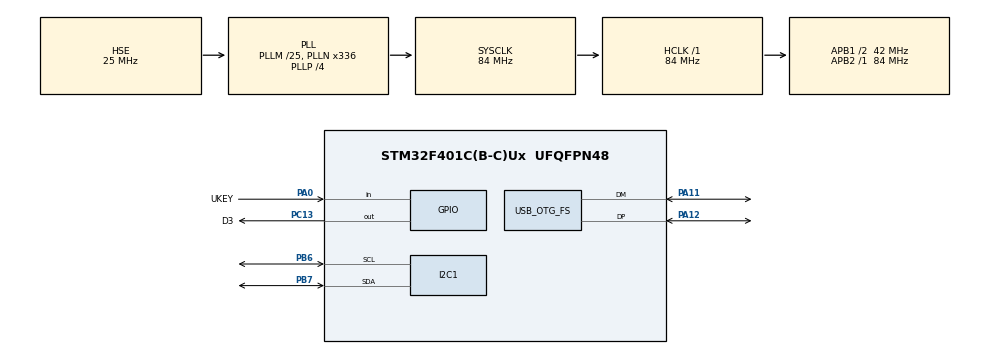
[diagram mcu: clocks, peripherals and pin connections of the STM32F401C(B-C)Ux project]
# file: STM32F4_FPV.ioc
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I2C1.I2C_Mode=I2C_Fast
Mcu.Family=STM32F4
Mcu.Name=STM32F401C(B-C)Ux
Mcu.Package=UFQFPN48
NVIC.I2C1_ER_IRQn=true\:0\:0\:false\:false\:true\:true\:true\:true
NVIC.I2C1_EV_IRQn=true\:0\:0\:false\:false\:true\:true\:true\:true
NVIC.OTG_FS_IRQn=true\:0\:0\:false\:false\:true\:true\:true\:true
NVIC.PriorityGroup=NVIC_PRIORITYGROUP_4
NVIC.TIM1_UP_TIM10_IRQn=true\:0\:0\:false\:false\:true\:true\:true\:true
PA0-WKUP.GPIO_Label=UKEY
PA0-WKUP.Signal=GPIO_Input
PA11.Mode=Device_Only
PA11.Signal=USB_OTG_FS_DM
PA12.Mode=Device_Only
PA12.Signal=USB_OTG_FS_DP
PA13.Mode=Serial_Wire
PA13.Signal=SYS_JTMS-SWDIO
PA14.Mode=Serial_Wire
PA14.Signal=SYS_JTCK-SWCLK
PB6.Mode=I2C
PB6.Signal=I2C1_SCL
PB7.Mode=I2C
PB7.Signal=I2C1_SDA
PC13-ANTI_TAMP.GPIO_Label=D3
PC13-ANTI_TAMP.GPIO_ModeDefaultOutputPP=GPIO_MODE_OUTPUT_OD
PC13-ANTI_TAMP.GPIO_PuPd=GPIO_NOPULL
PC13-ANTI_TAMP.Signal=GPIO_Output
PC14-OSC32_IN.Mode=LSE-External-Oscillator
PC14-OSC32_IN.Signal=RCC_OSC32_IN
PC15-OSC32_OUT.Mode=LSE-External-Oscillator
PC15-OSC32_OUT.Signal=RCC_OSC32_OUT
PH0\ -\ OSC_IN.Mode=HSE-External-Oscillator
PH0\ -\ OSC_IN.Signal=RCC_OSC_IN
PH1\ -\ OSC_OUT.Mode=HSE-External-Oscillator
PH1\ -\ OSC_OUT.Signal=RCC_OSC_OUT
ProjectManager.HeapSize=0x200
ProjectManager.StackSize=0x400
ProjectManager.TargetToolchain=STM32CubeIDE
RCC.48MHZClocksFreq_Value=48000000
RCC.AHBFreq_Value=84000000
RCC.APB1CLKDivider=RCC_HCLK_DIV2
RCC.APB1Freq_Value=42000000
RCC.APB1TimFreq_Value=84000000
RCC.APB2Freq_Value=84000000
RCC.APB2TimFreq_Value=84000000
RCC.CortexFreq_Value=84000000
RCC.HCLKFreq_Value=84000000
RCC.HSE_VALUE=25000000
RCC.HSI_VALUE=16000000
RCC.PLLM=25
RCC.PLLN=336
RCC.PLLP=RCC_PLLP_DIV4
RCC.PLLQ=7
RCC.RCC_RTC_Clock_Source=RCC_RTCCLKSOURCE_LSE
RCC.RCC_RTC_Clock_SourceVirtual=RCC_RTCCLKSOURCE_LSE
RCC.SYSCLKFreq_VALUE=84000000
RCC.SYSCLKSource=RCC_SYSCLKSOURCE_PLLCLK
RCC.VCOOutputFreq_Value=336000000
TIM1.Period=30000
TIM1.Prescaler=1400-1
TIM1.TIM_MasterOutputTrigger=TIM_TRGO_UPDATE
TIM1.TIM_MasterSlaveMode=TIM_MASTERSLAVEMODE_ENABLE
USB_DEVICE.CLASS_NAME_FS=CDC
USB_DEVICE.VirtualMode=Cdc
USB_DEVICE.VirtualModeFS=Cdc_FS
USB_OTG_FS.VirtualMode=Device_Only
VP_RTC_VS_RTC_Activate.Mode=RTC_Enabled
VP_TIM1_VS_ClockSourceINT.Mode=Internal
VP_USB_DEVICE_VS_USB_DEVICE_CDC_FS.Mode=CDC_FS
board=custom

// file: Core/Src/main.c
/* USER CODE BEGIN Header */
/**
  ******************************************************************************
  * @file           : main.c
  * @brief          : Main program body
  ******************************************************************************
  * @attention
  *
  * Copyright (c) 2024 STMicroelectronics.
  * All rights reserved.
  *
  * This software is licensed under terms that can be found in the LICENSE file
  * in the root directory of this software component.
  * If no LICENSE file comes with this software, it is provided AS-IS.
  *
  ******************************************************************************
  */
/* USER CODE END Header */
#include "main.h"
#include "usb_device.h"

/* USER CODE BEGIN Includes */
#include "usbd_cdc_if.h"
#include "mpu6500.h"
#include "cli.h"
#include "process.h"
/* USER CODE END Includes */

I2C_HandleTypeDef hi2c1;

RTC_HandleTypeDef hrtc;

TIM_HandleTypeDef htim1;

/* USER CODE BEGIN PV */
uint8_t dataIsReadyForParsing = 0;
uint8_t * cliBuffer;
uint32_t cliLength;
FCstate fcState = STANDBY;
/* USER CODE END PV */

void SystemClock_Config(void);
static void MX_GPIO_Init(void);
static void MX_I2C1_Init(void);
static void MX_RTC_Init(void);
static void MX_TIM1_Init(void);

int main(void)
{

  /* MCU Configuration--------------------------------------------------------*/

  /* Reset of all peripherals, Initializes the Flash interface and the Systick. */
  HAL_Init();

  /* Configure the system clock */
  SystemClock_Config();

  /* Initialize all configured peripherals */
  MX_GPIO_Init();
  MX_I2C1_Init();
  MX_RTC_Init();
  MX_USB_DEVICE_Init();
  MX_TIM1_Init();
  /* USER CODE BEGIN 2 */
  uint8_t data;
  uint8_t status;
  data = mpu6500_getDeviceID();
  status = mpu6500_init();

  HAL_TIM_Base_Start_IT(&htim1);
  /* USER CODE END 2 */

  /* Infinite loop */
  /* USER CODE BEGIN WHILE */
  //uint8_t vcpBuf[256] = "Hello world\n\r";
  while (1)
  {
//	  status = mpu6500_readMem(MPU6500_ACCEL_XOUT_H, 16, memData);
//	  int16_t valx = (memData[0] << 8) + memData[1];
//	  int16_t valy = (memData[2] << 8) + memData[3];
//	  int16_t valz = (memData[4] << 8) + memData[5];
	  //HAL_Delay(500);
	  if(dataIsReadyForParsing)
	  {
		  dataIsReadyForParsing = 0;
		  CDC_Transmit_FS(cliBuffer, cliLength);
		  readForParse(cliBuffer, &cliLength);
	  }
	  process(fcState);

    /* USER CODE END WHILE */

  }
}

void SystemClock_Config(void)
{
  RCC_OscInitTypeDef RCC_OscInitStruct = {0};
  RCC_ClkInitTypeDef RCC_ClkInitStruct = {0};

  /** Configure the main internal regulator output voltage
  */
  __HAL_RCC_PWR_CLK_ENABLE();
  __HAL_PWR_VOLTAGESCALING_CONFIG(PWR_REGULATOR_VOLTAGE_SCALE2);

  /** Initializes the RCC Oscillators according to the specified parameters
  * in the RCC_OscInitTypeDef structure.
  */
  RCC_OscInitStruct.OscillatorType = RCC_OSCILLATORTYPE_HSE|RCC_OSCILLATORTYPE_LSE;
  RCC_OscInitStruct.HSEState = RCC_HSE_ON;
  RCC_OscInitStruct.LSEState = RCC_LSE_ON;
  RCC_OscInitStruct.PLL.PLLState = RCC_PLL_ON;
  RCC_OscInitStruct.PLL.PLLSource = RCC_PLLSOURCE_HSE;
  RCC_OscInitStruct.PLL.PLLM = 25;
  RCC_OscInitStruct.PLL.PLLN = 336;
  RCC_OscInitStruct.PLL.PLLP = RCC_PLLP_DIV4;
  RCC_OscInitStruct.PLL.PLLQ = 7;
  if (HAL_RCC_OscConfig(&RCC_OscInitStruct) != HAL_OK)
  {
    Error_Handler();
  }

  /** Initializes the CPU, AHB and APB buses clocks
  */
  RCC_ClkInitStruct.ClockType = RCC_CLOCKTYPE_HCLK|RCC_CLOCKTYPE_SYSCLK
                              |RCC_CLOCKTYPE_PCLK1|RCC_CLOCKTYPE_PCLK2;
  RCC_ClkInitStruct.SYSCLKSource = RCC_SYSCLKSOURCE_PLLCLK;
  RCC_ClkInitStruct.AHBCLKDivider = RCC_SYSCLK_DIV1;
  RCC_ClkInitStruct.APB1CLKDivider = RCC_HCLK_DIV2;
  RCC_ClkInitStruct.APB2CLKDivider = RCC_HCLK_DIV1;

  if (HAL_RCC_ClockConfig(&RCC_ClkInitStruct, FLASH_LATENCY_2) != HAL_OK)
  {
    Error_Handler();
  }
}

static void MX_I2C1_Init(void)
{

  hi2c1.Instance = I2C1;
  hi2c1.Init.ClockSpeed = 400000;
  hi2c1.Init.DutyCycle = I2C_DUTYCYCLE_2;
  hi2c1.Init.OwnAddress1 = 0;
  hi2c1.Init.AddressingMode = I2C_ADDRESSINGMODE_7BIT;
  hi2c1.Init.DualAddressMode = I2C_DUALADDRESS_DISABLE;
  hi2c1.Init.OwnAddress2 = 0;
  hi2c1.Init.GeneralCallMode = I2C_GENERALCALL_DISABLE;
  hi2c1.Init.NoStretchMode = I2C_NOSTRETCH_DISABLE;
  if (HAL_I2C_Init(&hi2c1) != HAL_OK)
  {
    Error_Handler();
  }

}

static void MX_RTC_Init(void)
{

  /** Initialize RTC Only
  */
  hrtc.Instance = RTC;
  hrtc.Init.HourFormat = RTC_HOURFORMAT_24;
  hrtc.Init.AsynchPrediv = 127;
  hrtc.Init.SynchPrediv = 255;
  hrtc.Init.OutPut = RTC_OUTPUT_DISABLE;
  hrtc.Init.OutPutPolarity = RTC_OUTPUT_POLARITY_HIGH;
  hrtc.Init.OutPutType = RTC_OUTPUT_TYPE_OPENDRAIN;
  if (HAL_RTC_Init(&hrtc) != HAL_OK)
  {
    Error_Handler();
  }

}

static void MX_TIM1_Init(void)
{

  TIM_ClockConfigTypeDef sClockSourceConfig = {0};
  TIM_MasterConfigTypeDef sMasterConfig = {0};

  htim1.Instance = TIM1;
  htim1.Init.Prescaler = 1400-1;
  htim1.Init.CounterMode = TIM_COUNTERMODE_UP;
  htim1.Init.Period = 30000;
  htim1.Init.ClockDivision = TIM_CLOCKDIVISION_DIV1;
  htim1.Init.RepetitionCounter = 0;
  htim1.Init.AutoReloadPreload = TIM_AUTORELOAD_PRELOAD_DISABLE;
  if (HAL_TIM_Base_Init(&htim1) != HAL_OK)
  {
    Error_Handler();
  }
  sClockSourceConfig.ClockSource = TIM_CLOCKSOURCE_INTERNAL;
  if (HAL_TIM_ConfigClockSource(&htim1, &sClockSourceConfig) != HAL_OK)
  {
    Error_Handler();
  }
  sMasterConfig.MasterOutputTrigger = TIM_TRGO_UPDATE;
  sMasterConfig.MasterSlaveMode = TIM_MASTERSLAVEMODE_ENABLE;
  if (HAL_TIMEx_MasterConfigSynchronization(&htim1, &sMasterConfig) != HAL_OK)
  {
    Error_Handler();
  }

}

static void MX_GPIO_Init(void)
{
  GPIO_InitTypeDef GPIO_InitStruct = {0};

  /* GPIO Ports Clock Enable */
  __HAL_RCC_GPIOC_CLK_ENABLE();
  __HAL_RCC_GPIOH_CLK_ENABLE();
  __HAL_RCC_GPIOA_CLK_ENABLE();
  __HAL_RCC_GPIOB_CLK_ENABLE();

  /*Configure GPIO pin Output Level */
  HAL_GPIO_WritePin(D3_GPIO_Port, D3_Pin, GPIO_PIN_RESET);

  /*Configure GPIO pin : D3_Pin */
  GPIO_InitStruct.Pin = D3_Pin;
  GPIO_InitStruct.Mode = GPIO_MODE_OUTPUT_OD;
  GPIO_InitStruct.Pull = GPIO_NOPULL;
  GPIO_InitStruct.Speed = GPIO_SPEED_FREQ_LOW;
  HAL_GPIO_Init(D3_GPIO_Port, &GPIO_InitStruct);

  /*Configure GPIO pin : UKEY_Pin */
  GPIO_InitStruct.Pin = UKEY_Pin;
  GPIO_InitStruct.Mode = GPIO_MODE_INPUT;
  GPIO_InitStruct.Pull = GPIO_NOPULL;
  HAL_GPIO_Init(UKEY_GPIO_Port, &GPIO_InitStruct);

}

/* USER CODE BEGIN 4 */
void HAL_TIM_PeriodElapsedCallback(TIM_HandleTypeDef *htim)
{
  // Check which version of the timer triggered this callback and toggle LED
  if (htim == &htim1)
  {
    HAL_GPIO_TogglePin(D3_GPIO_Port, D3_Pin);
  }
}
/* USER CODE END 4 */

void Error_Handler(void)
{
  __disable_irq();
  while (1)
  {
  }
}
